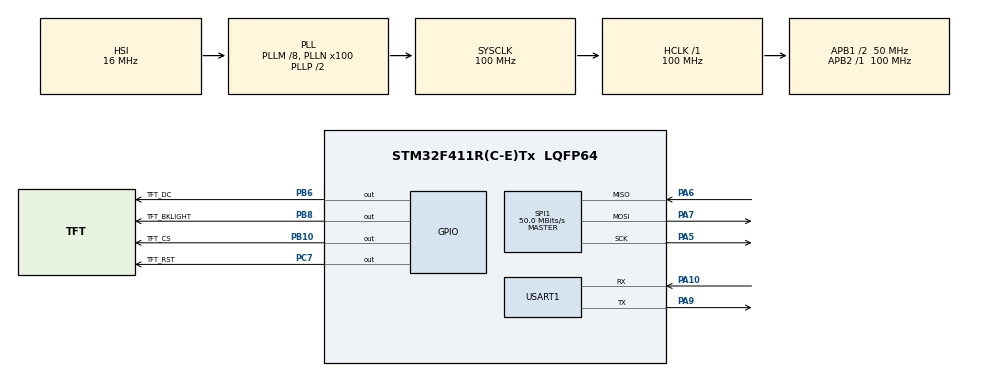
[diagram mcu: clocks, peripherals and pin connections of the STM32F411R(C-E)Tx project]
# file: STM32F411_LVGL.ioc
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Dma.Request0=SPI1_TX
Dma.SPI1_TX.0.Direction=DMA_MEMORY_TO_PERIPH
Dma.SPI1_TX.0.FIFOMode=DMA_FIFOMODE_DISABLE
Dma.SPI1_TX.0.Instance=DMA2_Stream2
Dma.SPI1_TX.0.MemDataAlignment=DMA_MDATAALIGN_BYTE
Dma.SPI1_TX.0.MemInc=DMA_MINC_ENABLE
Dma.SPI1_TX.0.Mode=DMA_NORMAL
Dma.SPI1_TX.0.PeriphDataAlignment=DMA_PDATAALIGN_BYTE
Dma.SPI1_TX.0.PeriphInc=DMA_PINC_DISABLE
Dma.SPI1_TX.0.Priority=DMA_PRIORITY_LOW
Mcu.Family=STM32F4
Mcu.Name=STM32F411R(C-E)Tx
Mcu.Package=LQFP64
NVIC.DMA2_Stream2_IRQn=true\:0\:0\:false\:false\:true\:false\:true\:true
NVIC.PriorityGroup=NVIC_PRIORITYGROUP_4
NVIC.USART1_IRQn=true\:0\:0\:false\:false\:true\:true\:true\:true
PA10.Mode=Asynchronous
PA10.Signal=USART1_RX
PA5.Mode=Full_Duplex_Master
PA5.Signal=SPI1_SCK
PA6.Mode=Full_Duplex_Master
PA6.Signal=SPI1_MISO
PA7.Mode=Full_Duplex_Master
PA7.Signal=SPI1_MOSI
PA9.Mode=Asynchronous
PA9.Signal=USART1_TX
PB10.GPIO_Label=TFT_CS
PB10.Signal=GPIO_Output
PB6.GPIO_Label=TFT_DC
PB6.Signal=GPIO_Output
PB8.GPIO_Label=TFT_BKLIGHT
PB8.Signal=GPIO_Output
PC7.GPIO_Label=TFT_RST
PC7.Signal=GPIO_Output
ProjectManager.HeapSize=0x200
ProjectManager.StackSize=0x400
ProjectManager.TargetToolchain=STM32CubeIDE
RCC.48MHZClocksFreq_Value=50000000
RCC.AHBFreq_Value=100000000
RCC.APB1CLKDivider=RCC_HCLK_DIV2
RCC.APB1Freq_Value=50000000
RCC.APB1TimFreq_Value=100000000
RCC.APB2Freq_Value=100000000
RCC.APB2TimFreq_Value=100000000
RCC.CortexFreq_Value=100000000
RCC.HCLKFreq_Value=100000000
RCC.HSE_VALUE=25000000
RCC.HSI_VALUE=16000000
RCC.LSE_VALUE=32768
RCC.PLLM=8
RCC.PLLN=100
RCC.SYSCLKFreq_VALUE=100000000
RCC.SYSCLKSource=RCC_SYSCLKSOURCE_PLLCLK
RCC.VCOOutputFreq_Value=200000000
SPI1.BaudRatePrescaler=SPI_BAUDRATEPRESCALER_2
SPI1.CalculateBaudRate=50.0 MBits/s
SPI1.Direction=SPI_DIRECTION_2LINES
SPI1.Mode=SPI_MODE_MASTER
SPI1.VirtualType=VM_MASTER
USART1.VirtualMode=VM_ASYNC
board=custom

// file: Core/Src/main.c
/* USER CODE BEGIN Header */
/**
  ******************************************************************************
  * @file           : main.c
  * @brief          : Main program body
  ******************************************************************************
  * @attention
  *
  * Copyright (c) 2023 STMicroelectronics.
  * All rights reserved.
  *
  * This software is licensed under terms that can be found in the LICENSE file
  * in the root directory of this software component.
  * If no LICENSE file comes with this software, it is provided AS-IS.
  *
  ******************************************************************************
  */
/* USER CODE END Header */
#include "main.h"
#include "dma.h"
#include "spi.h"
#include "usart.h"
#include "gpio.h"

/* USER CODE BEGIN Includes */
#include <stdio.h>
#include "event.h"
#include "uart_cmd.h"

#include "logo.h"
#include "../lvgl/examples/lv_examples.h"

#include "lvgl_ili9341_port.h"

/* USER CODE END Includes */

/* USER CODE BEGIN PTD */
static lv_disp_draw_buf_t disp_buf;
 //The second buffer is optional*/

#define ILI_SCR_HORIZONTAL 320
#define ILI_SCR_VERTICAL   240
#define BUFFOR_SCR_ROWS 40

 static lv_color_t buf_1[ILI_SCR_HORIZONTAL * BUFFOR_SCR_ROWS] ;
 static lv_color_t buf_2[ILI_SCR_HORIZONTAL * BUFFOR_SCR_ROWS] ;
 	 	 	 	 	 	 	 	 	 	 	 	 	 	 //DMA don't have acces to CCMRAM :(
 	 	 	 	 	 	 	 	 	 	 	 	 	 	 	 //I don't have so too much time on experiments
 static lv_disp_drv_t disp_drv;
/* USER CODE END PTD */

void SystemClock_Config(void);

int main(void)
{

  /* MCU Configuration--------------------------------------------------------*/

  /* Reset of all peripherals, Initializes the Flash interface and the Systick. */
  HAL_Init();

  /* Configure the system clock */
  SystemClock_Config();

  /* Initialize all configured peripherals */
  MX_GPIO_Init();
  MX_DMA_Init();
  MX_SPI1_Init();
  MX_USART1_UART_Init();
  /* USER CODE BEGIN 2 */
  printf("\r\nBoard Start \r\n");
  uart_cmd_init(NULL);
  //	XPT2046_Init(&hspi1, EXTI9_5_IRQn);
	HAL_Delay(30);
	ILI9341_port_init();
	lv_init();
	lv_disp_draw_buf_init(&disp_buf, buf_1, buf_2, ILI_SCR_HORIZONTAL * BUFFOR_SCR_ROWS);
	lv_disp_drv_init(&disp_drv);            /*Basic initialization*/
	disp_drv.draw_buf = &disp_buf;          /*Set an initialized buffer*/
	disp_drv.flush_cb = ILI9341_flush;        /*Set a flush callback to draw to the display*/
	disp_drv.hor_res = ILI_SCR_HORIZONTAL;                 /*Set the horizontal resolution in pixels*/
	disp_drv.ver_res = ILI_SCR_VERTICAL;                 /*Set the vertical resolution in pixels*/
	lv_disp_drv_register(&disp_drv); /*Register the driver and save the created display objects*/

  //	lv_indev_drv_t indev_drv;
  //	lv_indev_drv_init(&indev_drv);
  //	indev_drv.type =LV_INDEV_TYPE_POINTER;
  //	indev_drv.read_cb = lvXPT2064_Read;
  //	lv_indev_drv_register(&indev_drv);
  	HAL_Delay(10);

//  	lv_example_get_started_1();
  	lv_example_textarea_2();
  	//lv_example_win_1();
  	//lv_example_animimg_1();
  	//lv_example_flex_1();
  	//lv_example_scroll_6();
  	//lv_example_chart_7();
  	//lv_example_btnmatrix_3();
  	//lv_example_label_1(); //ciekawe przesuwanie tekstu!
  	//lv_example_img_3();  //o to jest mocne :D sporo zasobów musi zrec

  	uint32_t LedTim0;
  	uint32_t lvglTime=0;
  /* USER CODE END 2 */

  /* Infinite loop */
  /* USER CODE BEGIN WHILE */
  while (1)
  {
//
	  if(HAL_GetTick()-lvglTime >= 5)
	  {
		  lvglTime=HAL_GetTick();
		  lv_task_handler();
		  lv_tick_inc(5);
	  }
	  event_run_task();
    /* USER CODE END WHILE */

  }
}

void SystemClock_Config(void)
{
  RCC_OscInitTypeDef RCC_OscInitStruct = {0};
  RCC_ClkInitTypeDef RCC_ClkInitStruct = {0};

  /** Configure the main internal regulator output voltage
  */
  __HAL_RCC_PWR_CLK_ENABLE();
  __HAL_PWR_VOLTAGESCALING_CONFIG(PWR_REGULATOR_VOLTAGE_SCALE1);

  /** Initializes the RCC Oscillators according to the specified parameters
  * in the RCC_OscInitTypeDef structure.
  */
  RCC_OscInitStruct.OscillatorType = RCC_OSCILLATORTYPE_HSI;
  RCC_OscInitStruct.HSIState = RCC_HSI_ON;
  RCC_OscInitStruct.HSICalibrationValue = RCC_HSICALIBRATION_DEFAULT;
  RCC_OscInitStruct.PLL.PLLState = RCC_PLL_ON;
  RCC_OscInitStruct.PLL.PLLSource = RCC_PLLSOURCE_HSI;
  RCC_OscInitStruct.PLL.PLLM = 8;
  RCC_OscInitStruct.PLL.PLLN = 100;
  RCC_OscInitStruct.PLL.PLLP = RCC_PLLP_DIV2;
  RCC_OscInitStruct.PLL.PLLQ = 4;
  if (HAL_RCC_OscConfig(&RCC_OscInitStruct) != HAL_OK)
  {
    Error_Handler();
  }

  /** Initializes the CPU, AHB and APB buses clocks
  */
  RCC_ClkInitStruct.ClockType = RCC_CLOCKTYPE_HCLK|RCC_CLOCKTYPE_SYSCLK
                              |RCC_CLOCKTYPE_PCLK1|RCC_CLOCKTYPE_PCLK2;
  RCC_ClkInitStruct.SYSCLKSource = RCC_SYSCLKSOURCE_PLLCLK;
  RCC_ClkInitStruct.AHBCLKDivider = RCC_SYSCLK_DIV1;
  RCC_ClkInitStruct.APB1CLKDivider = RCC_HCLK_DIV2;
  RCC_ClkInitStruct.APB2CLKDivider = RCC_HCLK_DIV1;

  if (HAL_RCC_ClockConfig(&RCC_ClkInitStruct, FLASH_LATENCY_3) != HAL_OK)
  {
    Error_Handler();
  }
}

/* USER CODE BEGIN 4 */
/**
  * @brief  Retargets the C library printf function to the USART.
  * @param  None
  * @retval None
  */
void __io_putchar(uint8_t ch)
{
	HAL_UART_Transmit(&huart1, &ch, 1, HAL_MAX_DELAY);
}
int _write(int file, char *ptr, int len)
{
  (void)file;
  int DataIdx;

  for (DataIdx = 0; DataIdx < len; DataIdx++)
  {
    __io_putchar(*ptr++);
  }
  setbuf(stdout, NULL);
  return len;
}
/* USER CODE END 4 */

void Error_Handler(void)
{
  __disable_irq();
  while (1)
  {
  }
}
